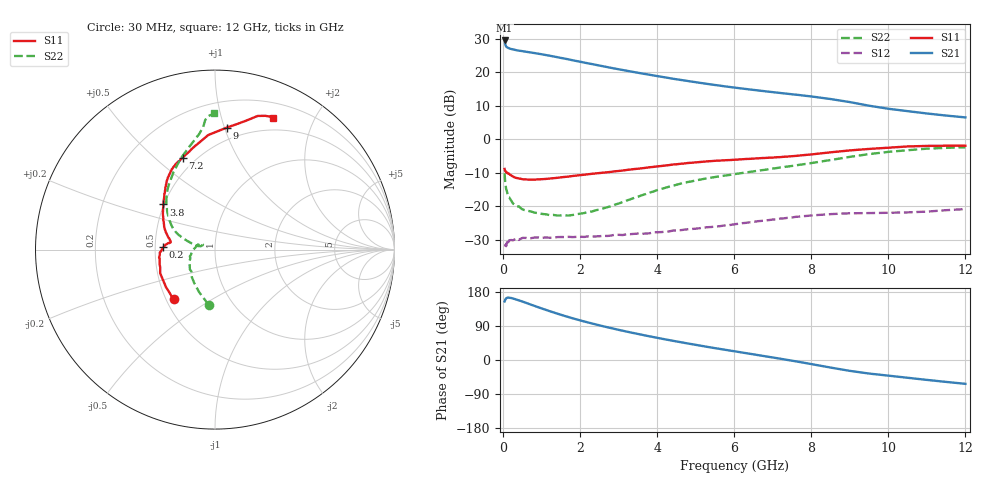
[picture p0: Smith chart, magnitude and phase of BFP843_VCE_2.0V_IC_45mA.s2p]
! Infineon Technologies  Discrete & RF Semiconductors
! BFP843
! VCE =  2.0 V,  IC =  45 mA
! Common Emitter S-Parameters:  Aug 2013
# GHz  S  MA  R  50
!  f  S11  S21  S12  S22
! GHz  MAG  ANG  MAG  ANG  MAG  ANG  MAG  ANG
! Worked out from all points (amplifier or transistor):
!   103 points, 30 MHz to 12 GHz, reference 50 ohm
!   highest |S21| = 29.5 dB at 30 MHz (marker M1)
!   |S21| within 3 dB of that: start of sweep to 378.5 MHz
!   unconditionally stable (mu >= 1): 61.01 MHz to 10.28 GHz
!   at 400 MHz: K = 1.05, MAG = 26.8 dB, |S12| = -30.0 dB
!   at 3.7 GHz: K = 1.37, MAG = 20.2 dB, |S12| = -28.1 dB
!   at 12 GHz: K = 0.83, MSG = 13.7 dB, |S12| = -20.8 dB
!   S11 on the Smith chart (normalised r, x): 30 MHz: 0.55, -0.35; 200 MHz: 0.55, +0.02; 3.8 GHz: 0.50, +0.29; 7.2 GHz: 0.43, +0.62; 9 GHz: 0.40, +1.02; 12 GHz: 0.36, +1.47
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0.03  0.3608 -129.8  29.84 154.5  0.0269 25.0  0.3106 -96.4
0.04  0.3435 -142.8  27.18 156.9  0.0267 24.4  0.2521 -110.7
0.05  0.3346 -151.1  25.83 160.1  0.0258 12.8  0.2182 -122.3
0.07  0.3208 -161.9  24.23 162.6  0.0254 24.5  0.1799 -136.6
0.1  0.3123 -171.0  23.43 164.3  0.0306 13.4  0.1594 -155.4
0.13  0.3083 -175.7  23.04 164.7  0.0291 11.2  0.1454 -165.0
0.2  0.2887 177.5  22.22 163.6  0.0314 7.2  0.1218 -179.6
0.7  0.2502 170.1  19.78 146.6  0.0333 6.5  0.0841 156.7
1.1  0.256 168.0  18.1 132.4  0.0343 6.2  0.0759 155.1
1.6  0.2744 164.0  15.96 116.0  0.0347 7.5  0.0731 160.2
2.1  0.2957 159.2  13.95 101.6  0.0349 9.9  0.0793 164.9
2.6  0.3179 153.5  12.26 88.8  0.0362 12.0  0.0933 168.0
3  0.3369 148.7  11.06 79.4  0.0375 12.8  0.1104 167.2
3.8  0.3827 138.9  9.177 62.4  0.0396 16.0  0.1598 162.9
4.1  0.3993 135.4  8.573 56.5  0.0412 16.6  0.1818 160.7
5  0.4529 127.1  7.107 39.9  0.0464 18.0  0.2436 155.4
6.1  0.499 119.8  5.814 21.4  0.0548 17.8  0.308 146.4
7.2  0.5428 109.4  4.904 3.3  0.0656 13.4  0.3793 135.7
8.5  0.6392 93.4  3.986 -20.0  0.0764 3.0  0.4906 118.1
9  0.6824 84.6  3.588 -28.7  0.0787 -1.4  0.5468 110.0
10.5  0.7816 72.3  2.629 -46.9  0.0811 -9.4  0.6862 95.5
12  0.8018 66.3  2.121 -62.9  0.0908 -16.2  0.7586 90.3
